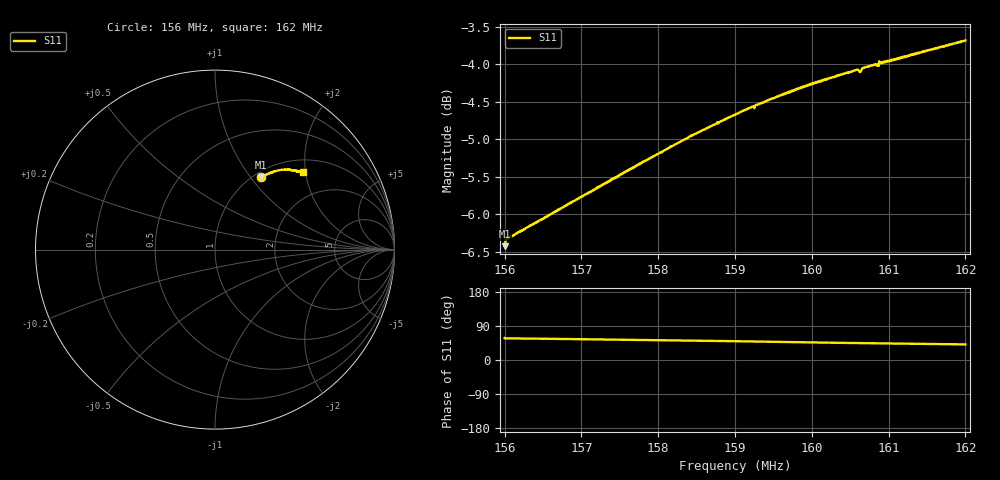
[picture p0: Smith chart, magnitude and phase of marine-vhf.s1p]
! Calibrated averaged scanner-service zoom
# Hz S RI R 50
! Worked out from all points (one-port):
!   1001 points, 156 MHz to 162 MHz, reference 50 ohm
!   lowest |S11| = -6.4 dB at 156 MHz (marker M1), VSWR 2.83, Z = 53.7 + j56.2 ohm
!   |S11| at or under -10 dB: nowhere
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1.56e8  0.2547 0.4037
1.56036e8  0.2621 0.4056
1.56048e8  0.2626 0.4055
1.56528e8  0.2787 0.4142
1.5675e8  0.2864 0.4178
1.57134e8  0.3002 0.4239
1.575e8  0.3143 0.4302
1.58046e8  0.3365 0.4372
1.5825e8  0.3454 0.4395
1.58454e8  0.3544 0.4417
1.59e8  0.3787 0.4449
1.593e8  0.3921 0.4455
1.5975e8  0.4117 0.4446
1.60158e8  0.4288 0.4429
1.605e8  0.4416 0.4404
1.60578e8  0.4447 0.4402
1.6062e8  0.4438 0.4388
1.60644e8  0.4452 0.4388
1.60686e8  0.4487 0.4394
1.60788e8  0.4523 0.4387
1.60854e8  0.4546 0.4359
1.60902e8  0.4561 0.4375
1.60908e8  0.4573 0.4376
1.60998e8  0.4594 0.4369
1.6125e8  0.4677 0.4351
1.6167e8  0.4828 0.4324
1.6197e8  0.4925 0.4305
1.62e8  0.4929 0.4308
